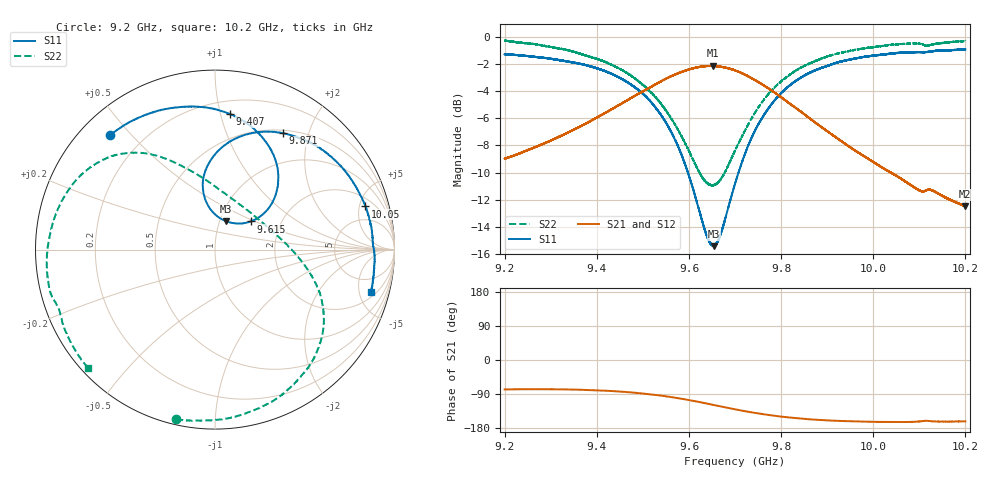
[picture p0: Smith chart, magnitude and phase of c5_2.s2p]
!Agilent Technologies,N5242A,MY51221714,A.09.90.19
!Agilent N5242A: A.09.90.19
!Date: Tuesday, March 26, 2024 15:55:15
!Correction: S11(Full 2 Port(1,2))
!S21(Full 2 Port(1,2))
!S12(Full 2 Port(1,2))
!S22(Full 2 Port(1,2))
!S2P File: Measurements: S11, S21, S12, S22:
# Hz S  dB  R 50
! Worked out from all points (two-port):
!   16001 points, 9.2 GHz to 10.2 GHz, reference 50 ohm
!   highest |S21| = -2.12 dB at 9.653 GHz (marker M1); lowest = -12.5 dB at 10.2 GHz (marker M2)
!   |S21| within 3 dB of the highest: 9.443 GHz to 9.827 GHz (384 MHz wide, 3.99 % of centre); 9.826893 GHz to 9.82715 GHz (256.7 kHz wide, 0.00261 % of centre)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
!   lowest |S11| = -15.4 dB at 9.654 GHz (marker M3), VSWR 1.41, Z = 53.4 + j17.4 ohm
!   |S11| at or under -10 dB: 9.598 GHz to 9.708 GHz (109.8 MHz wide, 1.14 % of centre)
!   |S22| runs from -11.0 to -0.2 dB; largest |S21 - S12| = 0.0095
!   S11 on the Smith chart (normalised r, x): 9.2 GHz: 0.09, +0.44; 9.407 GHz: 0.30, +1.07; 9.615 GHz: 1.40, +0.47; 9.871 GHz: 0.54, +1.61; 10.05 GHz: 2.86, +5.70; 10.2 GHz: 2.54, -6.47
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9.2e9  -1.26 132.5  -8.97 -77.7  -8.96 -78.3  -0.26 -102.8
9.278562e9  -1.51 115.2  -7.95 -77.1  -7.94 -77.8  -0.58 -81.6
9.366688e9  -1.99 94.2  -6.55 -78.6  -6.55 -79.2  -1.27 -58.9
9.407312e9  -2.39 83.8  -5.80 -80.3  -5.79 -81.1  -1.70 -48.7
9.469438e9  -3.39 66.9  -4.60 -85.0  -4.60 -85.6  -2.73 -33.9
9.533375e9  -5.47 48.6  -3.38 -93.0  -3.36 -93.6  -4.64 -17.9
9.576938e9  -8.10 38.2  -2.66 -100.9  -2.66 -101.4  -6.89 -3.6
9.615062e9  -11.94 38.3  -2.26 -109.2  -2.26 -109.8  -9.48 17.8
9.652688e9  -15.39 68.0  -2.12 -118.4  -2.12 -118.9  -10.90 54.4
9.65375e9  -15.43 69.3  -2.14 -118.7  -2.13 -119.2  -10.93 55.5
9.7e9  -10.84 101.1  -2.45 -130.1  -2.45 -130.6  -8.39 95.6
9.730875e9  -7.83 99.2  -2.94 -137.0  -2.92 -137.7  -6.31 109.9
9.765438e9  -5.61 90.6  -3.63 -143.7  -3.62 -144.2  -4.51 120.2
9.815375e9  -3.65 76.0  -4.81 -151.3  -4.81 -151.9  -2.85 131.5
9.866688e9  -2.56 61.1  -6.11 -156.9  -6.11 -157.4  -1.87 142.3
9.871438e9  -2.48 59.7  -6.23 -157.3  -6.23 -157.8  -1.80 143.4
9.95625e9  -1.60 37.6  -8.27 -161.9  -8.27 -162.5  -0.97 162.1
1.003338e10  -1.25 19.4  -9.92 -163.5  -9.90 -164.0  -0.60 -179.7
1.0048e10  -1.20 16.0  -10.20 -163.6  -10.20 -164.1  -0.53 -176.2
1.009875e10  -1.10 5.0  -11.29 -162.3  -11.30 -162.8  -0.49 -164.3
1.019975e10  -0.91 -15.2  -12.50 -161.9  -12.49 -162.5  -0.30 -137.2
1.02e10  -0.90 -15.3  -12.46 -162.0  -12.49 -162.4  -0.31 -137.1
